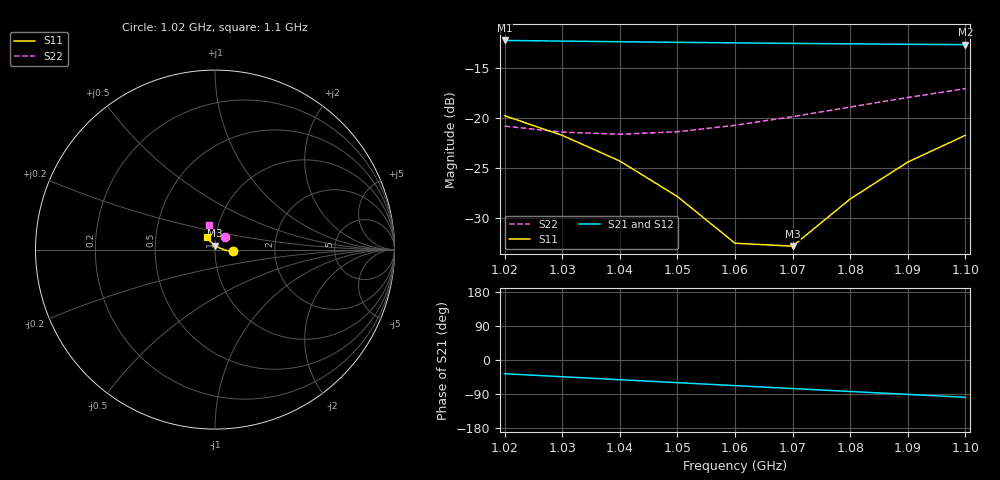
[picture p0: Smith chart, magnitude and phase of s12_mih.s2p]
# Hz S DB R 50
! Planar, Obzor-304, 08125003, 3.51/02
! Äàòà: 23.05.2019 10:14:08
! ×àñòîòà  S11: dB/Ang (F2)  S21: dB/Ang (F2)  S12: dB/Ang (F2)  S22: dB/Ang (F2)
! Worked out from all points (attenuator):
!   9 points, 1.02 GHz to 1.1 GHz, reference 50 ohm
!   highest |S21| = -12.29 dB at 1.02 GHz (marker M1); lowest = -12.7 dB at 1.1 GHz (marker M2)
!   lowest |S11| = -32.8 dB at 1.07 GHz (marker M3), VSWR 1.05, Z = 50.1 + j2.29 ohm
!   |S11| at or under -10 dB: start of sweep to end of sweep
!   |S22| runs from -21.6 to -17.1 dB; largest |S21 - S12| = 0.0026
1.02e9  -19.80 -5.4  -12.29 -36.2  -12.24 -36.2  -20.83 51.2
1.03e9  -21.75 -5.4  -12.35 -44.1  -12.32 -44.2  -21.43 59.9
1.04e9  -24.31 -3.4  -12.41 -52.0  -12.39 -52.1  -21.64 70.0
1.05e9  -27.86 4.1  -12.47 -59.8  -12.45 -59.8  -21.39 80.0
1.06e9  -32.52 29.8  -12.53 -67.6  -12.51 -67.6  -20.75 88.8
1.07e9  -32.81 85.9  -12.58 -75.4  -12.56 -75.3  -19.88 95.5
1.08e9  -28.10 113.9  -12.63 -83.1  -12.60 -82.9  -18.93 100.2
1.09e9  -24.42 122.0  -12.67 -90.8  -12.62 -90.4  -17.98 103.2
1.1e9  -21.75 124.2  -12.70 -98.5  -12.62 -98.1  -17.09 104.9
